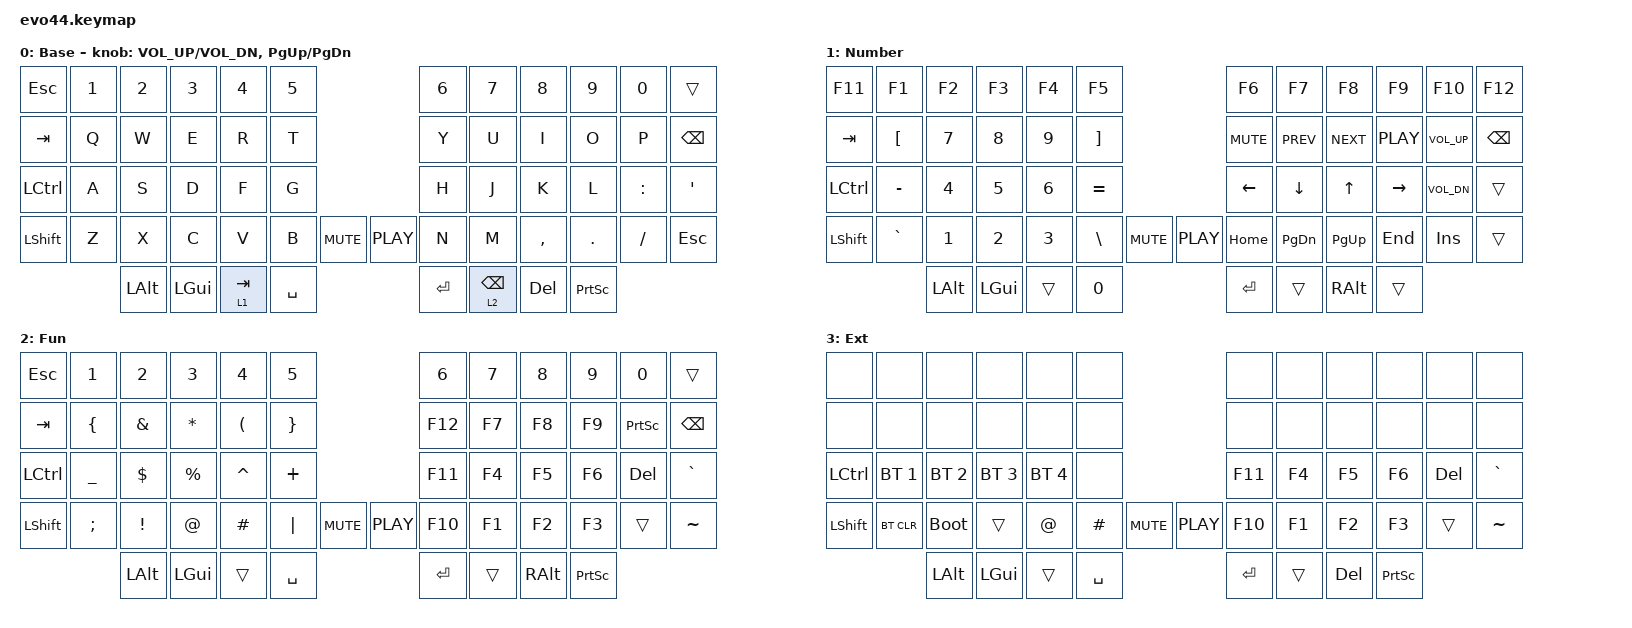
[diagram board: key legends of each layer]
/*
 * Copyright (c) 2020 The ZMK Contributors
 *
 * SPDX-License-Identifier: MIT
 */

#include <behaviors.dtsi>
#include <dt-bindings/zmk/keys.h>
#include <dt-bindings/zmk/bt.h>

/ {
        keymap {
                compatible = "zmk,keymap";
                default_layer {
                  display-name = "Base";
                        bindings = <
    &kp ESC   &kp N1 &kp N2   &kp N3   &kp N4    &kp N5                         &kp N6  &kp N7      &kp N8    &kp N9  &kp N0    &trans
		&kp TAB   &kp Q  &kp W    &kp E    &kp R     &kp T                          &kp Y   &kp U       &kp I     &kp O   &kp P     &kp BSPC
		&kp LCTRL	&kp A  &kp S    &kp D    &kp F     &kp G                          &kp H   &kp J       &kp K     &kp L   &kp COLON &kp APOS
	  &kp LSHFT	&kp Z  &kp X    &kp C    &kp V     &kp B    &kp C_MUTE &kp C_PLAY &kp N   &kp M       &kp COMMA &kp DOT &kp FSLH  &kp ESC   
      				       &kp LALT &kp LGUI &lt 1 TAB &kp SPACE                      &kp RET &lt 2 BSPC  &kp DEL   &kp PSCRN
                        >;
                sensor-bindings = <&inc_dec_kp C_VOL_UP C_VOL_DN &inc_dec_kp PG_UP PG_DN>;
                };
                lower_layer {
                  display-name = "Number";
                        bindings = <
    &kp F11   &kp F1    &kp F2 &kp F3 &kp F4 &kp F5                             &kp F6     &kp F7     &kp F8     &kp F9     &kp F10      &kp F12
    &kp TAB   &kp LBKT  &kp N7 &kp N8 &kp N9 &kp RBKT                           &kp C_MUTE &kp C_PREV &kp C_NEXT &kp C_PLAY &kp C_VOL_UP &kp BSPC
    &kp LCTRL &kp MINUS &kp N4 &kp N5 &kp N6 &kp EQUAL                          &kp LEFT   &kp DOWN   &kp UP     &kp RIGHT  &kp C_VOL_DN &trans
    &kp LSHFT &kp GRAVE &kp N1 &kp N2 &kp N3 &kp BSLH    &kp C_MUTE &kp C_PLAY  &kp HOME   &kp PG_DN  &kp PG_UP  &kp END    &kp INS      &trans
                        &kp LALT &kp LGUI &trans &kp N0                         &kp RET &trans &kp RALT &trans
                        >;
                };
                raise_layer {
                  display-name = "Fun";
                        bindings = <
   &kp ESC   &kp N1         &kp N2   &kp N3    &kp N4    &kp N5                 &kp N6  &kp N7 &kp N8   &kp N9 &kp N0    &trans
   &kp TAB   &kp LBRC       &kp AMPS &kp ASTRK &kp LPAR  &kp RBRC               &kp F12 &kp F7 &kp F8   &kp F9 &kp PSCRN &kp BSPC
   &kp LCTRL &kp UNDERSCORE &kp DLLR &kp PRCNT &kp CARET &kp PLUS               &kp F11 &kp F4 &kp F5   &kp F6 &kp DEL   &kp GRAVE
   &kp LSHFT &kp SEMI       &kp EXCL &kp AT    &kp HASH  &kp PIPE  &kp C_MUTE &kp C_PLAY &kp F10 &kp F1 &kp F2   &kp F3 &trans    &kp TILDE
                            &kp LALT &kp LGUI  &trans    &kp SPACE              &kp RET &trans &kp RALT &kp PSCRN
                        >;
                };
                ext_layer {
                  display-name = "Ext";
                        bindings = <
   &none     &none        &none        &none         &none         &none            &none   &none  &none    &none  &none   &none
   &none     &none        &none        &none         &none         &none            &none   &none  &none    &none  &none   &none 
   &kp LCTRL &bt BT_SEL 1 &bt BT_SEL 2 &bt BT_SEL 3  &bt BT_SEL 4  &none            &kp F11 &kp F4 &kp F5   &kp F6 &kp DEL &kp GRAVE
   &kp LSHFT &bt BT_CLR   &bootloader  &trans        &kp AT        &kp HASH  &kp C_MUTE &kp C_PLAY &kp F10 &kp F1 &kp F2   &kp F3 &trans  &kp TILDE
                          &kp LALT     &kp LGUI      &trans        &kp SPACE        &kp RET &trans &kp DEL  &kp PSCRN
                        >;
                };
        };
};
